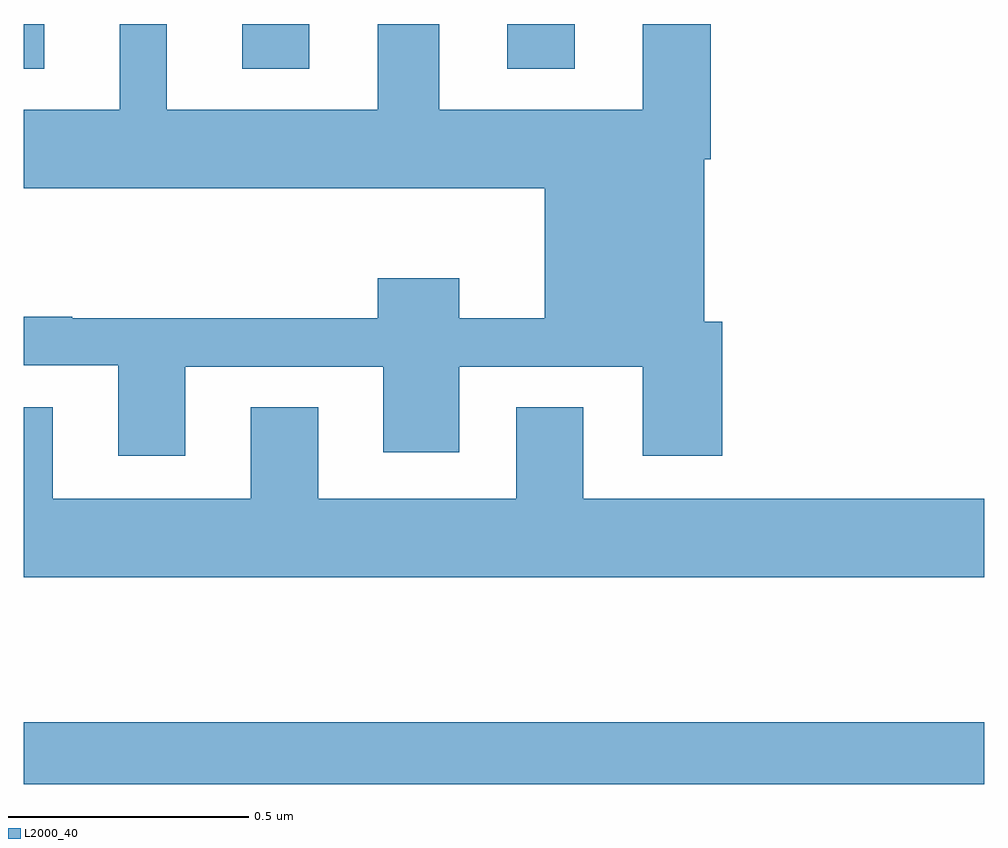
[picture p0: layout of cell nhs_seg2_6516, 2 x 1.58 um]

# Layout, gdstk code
import gdstk
lib = gdstk.Library(unit=1e-6, precision=1e-09)
def R(c, l, rs):  # rectangles x0, y0, x1, y1
    for r in rs: c.add(gdstk.rectangle(r[:2], r[2:], *l))
def P(c, l, *ps):  # polygons
    for p in ps: c.add(gdstk.Polygon(p, *l))
L2000_40 = (2000, 40)

nhs_seg2_6516 = lib.new_cell('nhs_seg2_6516')
R(nhs_seg2_6516, L2000_40, [(192,635.218,194,635.347), (192,636.707,192.043,636.8), (192.455,636.707,192.595,636.8), (193.007,636.707,193.147,636.8)])
P(nhs_seg2_6516, L2000_40, [(192.337,636.087),(192.749,636.087),(192.749,635.909),(192.907,635.909),(192.907,636.087),(193.289,636.087),(193.289,635.901),(193.454,635.901),(193.454,636.18),(193.417,636.18),(193.417,636.518),(193.43,636.518),(193.43,636.8),(193.289,636.8),(193.289,636.622),(192.865,636.622),(192.865,636.8),(192.737,636.8),(192.737,636.622),(192.298,636.622),(192.298,636.8),(192.2,636.8),(192.2,636.622),(192,636.622),(192,636.458),(193.085,636.458),(193.085,636.188),(192.907,636.188),(192.907,636.271),(192.737,636.271),(192.737,636.188),(192.101,636.188),(192.101,636.191),(192,636.191),(192,636.09),(192.197,636.09),(192.197,635.901),(192.337,635.901)],
  [(194,635.812),(193.165,635.812),(193.165,636.002),(193.025,636.002),(193.025,635.812),(192.613,635.812),(192.613,636.002),(192.473,636.002),(192.473,635.812),(192.061,635.812),(192.061,636.002),(192,636.002),(192,635.648),(194,635.648)])

lib.write_gds('nhs_seg2_6516.gds')
